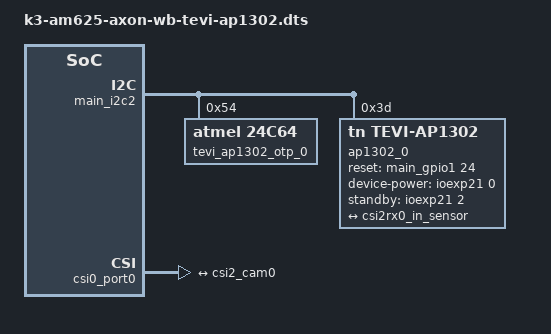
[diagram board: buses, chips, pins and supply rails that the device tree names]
// SPDX-License-Identifier: GPL-2.0
/*
 * Copyright (C) 2021-2022 Texas Instruments Incorporated - https://www.ti.com/
 *
 * Copyright 2023 TechNexion Ltd.
 *
 */

/dts-v1/;
/plugin/;

#include <dt-bindings/gpio/gpio.h>
#include <dt-bindings/interrupt-controller/irq.h>
#include <dt-bindings/pinctrl/k3.h>

/* I2C_B */
&main_i2c2 {
	#address-cells = <1>;
	#size-cells = <0>;

	tevi_ap1302_otp_0: tevi_ap1302_otp_0@54 {
		compatible = "atmel,24c64";
		reg = <0x54>;
		pagesize = <128>;
	};

	ap1302_0: ap1302_0@3d {
		compatible = "tn,tevi-ap1302";
		reg = <0x3d>;

		pinctrl-names = "default";
		pinctrl-0 = <&main_gpio1_csi_ctrl_pins_default>;

		reset-gpios = <&main_gpio1 24 GPIO_ACTIVE_HIGH>; /* CSI_nRST, GPIO_X3_P65 */
		device-power-gpios = <&ioexp21 0 GPIO_ACTIVE_HIGH>;
		standby-gpios = <&ioexp21 2 GPIO_ACTIVE_HIGH>;

		nvmem = <&tevi_ap1302_otp_0>;
		nvmem-names = "calib-data";
		pixel-rate = <61440000>; /* 61.43MHz */
		data-lanes = <2>;
		continuous-clock = <0>;
		status = "okay";

		port {
			csi2_cam0: endpoint {
				remote-endpoint = <&csi2rx0_in_sensor>;
				clock-lanes = <0>;
				data-lanes = <1 2 3 4>;
			};
		};
	};
};

&csi0_port0 {
	status = "okay";

	csi2rx0_in_sensor: endpoint {
		remote-endpoint = <&csi2_cam0>;
		bus-type = <4>; /* CSI2 DPHY. */
		clock-lanes = <0>;
		data-lanes = <1 2 3 4>;
	};
};
